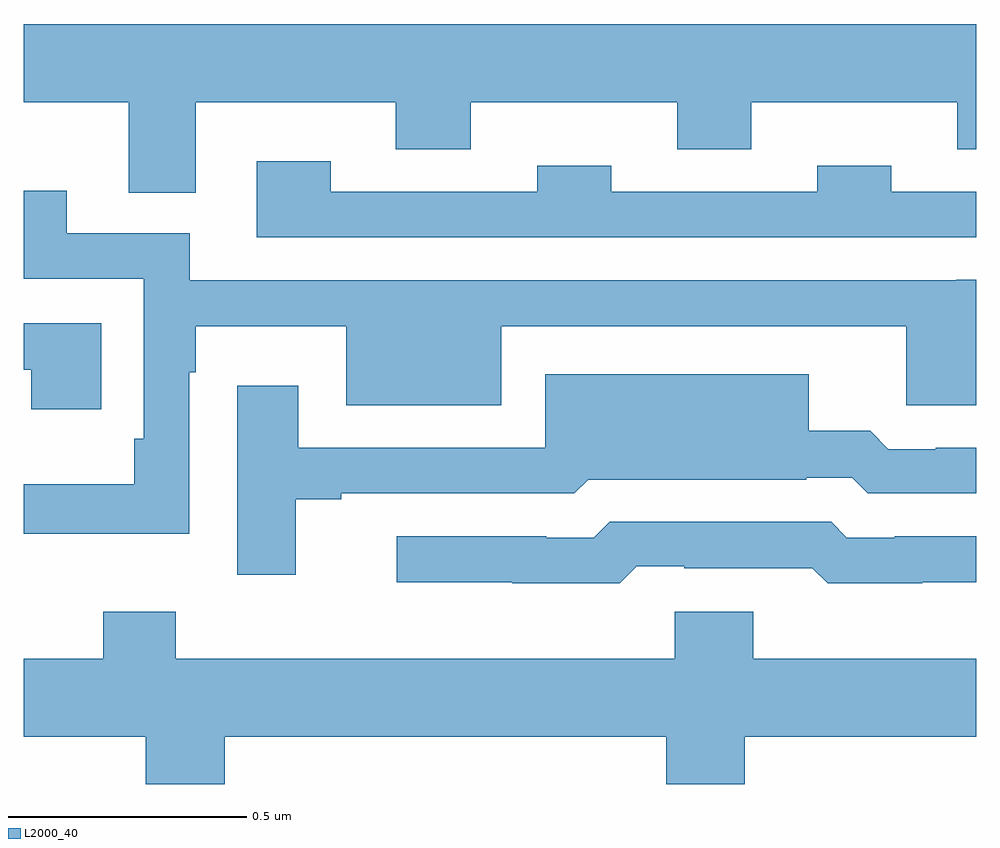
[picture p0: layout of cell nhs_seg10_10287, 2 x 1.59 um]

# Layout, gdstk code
import gdstk
lib = gdstk.Library(unit=1e-6, precision=1e-09)
def P(c, l, *ps):  # polygons
    for p in ps: c.add(gdstk.Polygon(p, *l))
L2000_40 = (2000, 40)

nhs_seg10_10287 = lib.new_cell('nhs_seg10_10287')
P(nhs_seg10_10287, L2000_40, [(240.361,1318.964),(240.781,1318.964),(240.781,1318.865),(240.939,1318.865),(240.939,1318.964),(241.372,1318.964),(241.372,1318.865),(241.527,1318.865),(241.527,1318.964),(241.96,1318.964),(241.96,1318.865),(242,1318.865),(242,1319.128),(240,1319.128),(240,1318.964),(240.221,1318.964),(240.221,1318.774),(240.361,1318.774)],
  [(242,1318.776),(241.821,1318.776),(241.821,1318.831),(241.666,1318.831),(241.666,1318.776),(241.233,1318.776),(241.233,1318.831),(241.078,1318.831),(241.078,1318.776),(240.645,1318.776),(240.645,1318.84),(240.489,1318.84),(240.489,1318.68),(242,1318.68)],
  [(240.348,1318.397),(240.361,1318.397),(240.361,1318.494),(240.677,1318.494),(240.677,1318.328),(241.003,1318.328),(241.003,1318.494),(241.853,1318.494),(241.853,1318.328),(242,1318.328),(242,1318.591),(241.957,1318.591),(241.957,1318.59),(240.349,1318.59),(240.349,1318.689),(240.091,1318.689),(240.091,1318.778),(240,1318.778),(240,1318.593),(240.252,1318.593),(240.252,1318.258),(240.232,1318.258),(240.232,1318.162),(240,1318.162),(240,1318.058),(240.348,1318.058)],
  [(240.163,1318.5),(240,1318.5),(240,1318.402),(240.016,1318.402),(240.016,1318.32),(240.163,1318.32)],
  [(240.571,1318.131),(240.667,1318.131),(240.667,1318.143),(241.156,1318.143),(241.185,1318.172),(241.643,1318.172),(241.643,1318.176),(241.739,1318.176),(241.772,1318.143),(242,1318.143),(242,1318.239),(241.915,1318.239),(241.915,1318.236),(241.815,1318.236),(241.777,1318.274),(241.648,1318.274),(241.648,1318.393),(241.095,1318.393),(241.095,1318.239),(240.577,1318.239),(240.577,1318.369),(240.449,1318.369),(240.449,1317.972),(240.571,1317.972)],
  [(241.287,1317.99),(241.387,1317.99),(241.387,1317.986),(241.655,1317.986),(241.688,1317.954),(241.886,1317.954),(241.886,1317.956),(242,1317.956),(242,1318.053),(241.828,1318.053),(241.828,1318.05),(241.728,1318.05),(241.695,1318.083),(241.23,1318.083),(241.197,1318.05),(241.097,1318.05),(241.097,1318.053),(240.783,1318.053),(240.783,1317.956),(241.026,1317.956),(241.026,1317.954),(241.251,1317.954)],
  [(240.422,1317.632),(241.349,1317.632),(241.349,1317.533),(241.514,1317.533),(241.514,1317.632),(242,1317.632),(242,1317.796),(241.532,1317.796),(241.532,1317.895),(241.367,1317.895),(241.367,1317.796),(240.32,1317.796),(240.32,1317.895),(240.167,1317.895),(240.167,1317.796),(240,1317.796),(240,1317.632),(240.257,1317.632),(240.257,1317.533),(240.422,1317.533)])

lib.write_gds('nhs_seg10_10287.gds')
